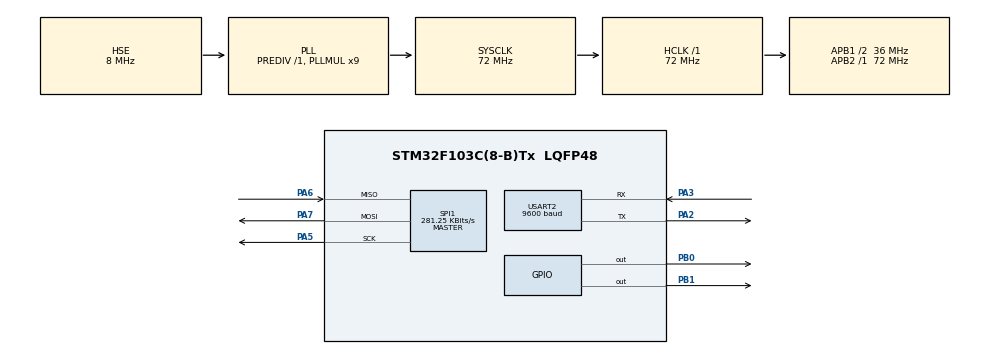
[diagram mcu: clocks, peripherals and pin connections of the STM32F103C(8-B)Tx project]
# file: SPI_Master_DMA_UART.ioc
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Dma.Request0=SPI1_RX
Dma.Request1=SPI1_TX
Dma.SPI1_RX.0.Direction=DMA_PERIPH_TO_MEMORY
Dma.SPI1_RX.0.Instance=DMA1_Channel2
Dma.SPI1_RX.0.MemDataAlignment=DMA_MDATAALIGN_BYTE
Dma.SPI1_RX.0.MemInc=DMA_MINC_ENABLE
Dma.SPI1_RX.0.Mode=DMA_NORMAL
Dma.SPI1_RX.0.PeriphDataAlignment=DMA_PDATAALIGN_BYTE
Dma.SPI1_RX.0.PeriphInc=DMA_PINC_DISABLE
Dma.SPI1_RX.0.Priority=DMA_PRIORITY_LOW
Dma.SPI1_TX.1.Direction=DMA_MEMORY_TO_PERIPH
Dma.SPI1_TX.1.Instance=DMA1_Channel3
Dma.SPI1_TX.1.MemDataAlignment=DMA_MDATAALIGN_BYTE
Dma.SPI1_TX.1.MemInc=DMA_MINC_ENABLE
Dma.SPI1_TX.1.Mode=DMA_NORMAL
Dma.SPI1_TX.1.PeriphDataAlignment=DMA_PDATAALIGN_BYTE
Dma.SPI1_TX.1.PeriphInc=DMA_PINC_DISABLE
Dma.SPI1_TX.1.Priority=DMA_PRIORITY_LOW
Mcu.Family=STM32F1
Mcu.Name=STM32F103C(8-B)Tx
Mcu.Package=LQFP48
NVIC.DMA1_Channel2_IRQn=true\:3\:0\:true\:false\:true\:false\:true
NVIC.DMA1_Channel3_IRQn=true\:2\:0\:true\:false\:true\:false\:true
NVIC.PriorityGroup=NVIC_PRIORITYGROUP_4
NVIC.SPI1_IRQn=true\:1\:0\:true\:false\:true\:true\:true
NVIC.USART2_IRQn=true\:0\:0\:false\:false\:true\:true\:true
PA13.Mode=Serial_Wire
PA13.Signal=SYS_JTMS-SWDIO
PA14.Mode=Serial_Wire
PA14.Signal=SYS_JTCK-SWCLK
PA2.Mode=Asynchronous
PA2.Signal=USART2_TX
PA3.Mode=Asynchronous
PA3.Signal=USART2_RX
PA5.Mode=Full_Duplex_Master
PA5.Signal=SPI1_SCK
PA6.Mode=Full_Duplex_Master
PA6.Signal=SPI1_MISO
PA7.Mode=Full_Duplex_Master
PA7.Signal=SPI1_MOSI
PB0.Signal=GPIO_Output
PB1.Signal=GPIO_Output
PD0-OSC_IN.Mode=HSE-External-Oscillator
PD0-OSC_IN.Signal=RCC_OSC_IN
PD1-OSC_OUT.Mode=HSE-External-Oscillator
PD1-OSC_OUT.Signal=RCC_OSC_OUT
ProjectManager.HeapSize=0x200
ProjectManager.StackSize=0x400
ProjectManager.TargetToolchain=STM32CubeIDE
RCC.AHBFreq_Value=72000000
RCC.APB1CLKDivider=RCC_HCLK_DIV2
RCC.APB1Freq_Value=36000000
RCC.APB1TimFreq_Value=72000000
RCC.APB2Freq_Value=72000000
RCC.APB2TimFreq_Value=72000000
RCC.HCLKFreq_Value=72000000
RCC.PLLMUL=RCC_PLL_MUL9
RCC.PLLSourceVirtual=RCC_PLLSOURCE_HSE
RCC.SYSCLKFreq_VALUE=72000000
RCC.SYSCLKSource=RCC_SYSCLKSOURCE_PLLCLK
RCC.USBFreq_Value=72000000
SPI1.BaudRatePrescaler=SPI_BAUDRATEPRESCALER_256
SPI1.CLKPolarity=SPI_POLARITY_HIGH
SPI1.CalculateBaudRate=281.25 KBits/s
SPI1.Direction=SPI_DIRECTION_2LINES
SPI1.Mode=SPI_MODE_MASTER
SPI1.VirtualType=VM_MASTER
USART2.BaudRate=9600
USART2.VirtualMode=VM_ASYNC
board=custom

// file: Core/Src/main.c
/* USER CODE BEGIN Header */
/**
  ******************************************************************************
  * @file           : main.c
  * @brief          : Main program body
  ******************************************************************************
  * @attention
  *
  * <h2><center>&copy; Copyright (c) 2021 STMicroelectronics.
  * All rights reserved.</center></h2>
  *
  * This software component is licensed by ST under BSD 3-Clause license,
  * the "License"; You may not use this file except in compliance with the
  * License. You may obtain a copy of the License at:
  *                        opensource.org/licenses/BSD-3-Clause
  *
  ******************************************************************************
  */
/* USER CODE END Header */
#include "main.h"

/* USER CODE BEGIN Includes */
#include "string.h"

/* USER CODE END Includes */

SPI_HandleTypeDef hspi1;
DMA_HandleTypeDef hdma_spi1_rx;
DMA_HandleTypeDef hdma_spi1_tx;

UART_HandleTypeDef huart2;

/* USER CODE BEGIN PV */
static char* Uartmsg="Uart_Established";
uint8_t spi_TX[]="SPI_Master_to_Slave\r\n\t";
uint8_t spi_RX[25]={0};

/* USER CODE END PV */

void SystemClock_Config(void);
static void MX_GPIO_Init(void);
static void MX_DMA_Init(void);
static void MX_SPI1_Init(void);
static void MX_USART2_UART_Init(void);

int main(void)
{

  /* MCU Configuration--------------------------------------------------------*/

  /* Reset of all peripherals, Initializes the Flash interface and the Systick. */
  HAL_Init();

  /* Configure the system clock */
  SystemClock_Config();

  /* Initialize all configured peripherals */
  MX_GPIO_Init();
  MX_DMA_Init();
  MX_SPI1_Init();
  MX_USART2_UART_Init();
  /* USER CODE BEGIN 2 */
  __HAL_SPI_ENABLE(&hspi1);
  __HAL_UART_ENABLE(&huart2);

  /* USER CODE END 2 */

	if (HAL_UART_Transmit(&huart2, (uint8_t*) Uartmsg, strlen(Uartmsg), 100)!= HAL_OK) {
		Error_Handler();
	}

	while(HAL_SPI_GetState(&hspi1)!=HAL_SPI_STATE_READY);
	if (HAL_SPI_TransmitReceive_DMA(&hspi1, spi_TX, spi_RX, 25)!= HAL_OK) {
			Error_Handler();

	}

  /* Infinite loop */
  while (1)
  {

  }
}

void SystemClock_Config(void)
{
  RCC_OscInitTypeDef RCC_OscInitStruct = {0};
  RCC_ClkInitTypeDef RCC_ClkInitStruct = {0};

  /** Initializes the RCC Oscillators according to the specified parameters
  * in the RCC_OscInitTypeDef structure.
  */
  RCC_OscInitStruct.OscillatorType = RCC_OSCILLATORTYPE_HSE;
  RCC_OscInitStruct.HSEState = RCC_HSE_ON;
  RCC_OscInitStruct.HSEPredivValue = RCC_HSE_PREDIV_DIV1;
  RCC_OscInitStruct.HSIState = RCC_HSI_ON;
  RCC_OscInitStruct.PLL.PLLState = RCC_PLL_ON;
  RCC_OscInitStruct.PLL.PLLSource = RCC_PLLSOURCE_HSE;
  RCC_OscInitStruct.PLL.PLLMUL = RCC_PLL_MUL9;
  if (HAL_RCC_OscConfig(&RCC_OscInitStruct) != HAL_OK)
  {
    Error_Handler();
  }
  /** Initializes the CPU, AHB and APB buses clocks
  */
  RCC_ClkInitStruct.ClockType = RCC_CLOCKTYPE_HCLK|RCC_CLOCKTYPE_SYSCLK
                              |RCC_CLOCKTYPE_PCLK1|RCC_CLOCKTYPE_PCLK2;
  RCC_ClkInitStruct.SYSCLKSource = RCC_SYSCLKSOURCE_PLLCLK;
  RCC_ClkInitStruct.AHBCLKDivider = RCC_SYSCLK_DIV1;
  RCC_ClkInitStruct.APB1CLKDivider = RCC_HCLK_DIV2;
  RCC_ClkInitStruct.APB2CLKDivider = RCC_HCLK_DIV1;

  if (HAL_RCC_ClockConfig(&RCC_ClkInitStruct, FLASH_LATENCY_2) != HAL_OK)
  {
    Error_Handler();
  }
}

static void MX_SPI1_Init(void)
{

  /* SPI1 parameter configuration*/
  hspi1.Instance = SPI1;
  hspi1.Init.Mode = SPI_MODE_MASTER;
  hspi1.Init.Direction = SPI_DIRECTION_2LINES;
  hspi1.Init.DataSize = SPI_DATASIZE_8BIT;
  hspi1.Init.CLKPolarity = SPI_POLARITY_HIGH;
  hspi1.Init.CLKPhase = SPI_PHASE_1EDGE;
  hspi1.Init.NSS = SPI_NSS_SOFT;
  hspi1.Init.BaudRatePrescaler = SPI_BAUDRATEPRESCALER_256;
  hspi1.Init.FirstBit = SPI_FIRSTBIT_MSB;
  hspi1.Init.TIMode = SPI_TIMODE_DISABLE;
  hspi1.Init.CRCCalculation = SPI_CRCCALCULATION_DISABLE;
  hspi1.Init.CRCPolynomial = 10;
  if (HAL_SPI_Init(&hspi1) != HAL_OK)
  {
    Error_Handler();
  }

}

static void MX_USART2_UART_Init(void)
{

  huart2.Instance = USART2;
  huart2.Init.BaudRate = 9600;
  huart2.Init.WordLength = UART_WORDLENGTH_8B;
  huart2.Init.StopBits = UART_STOPBITS_1;
  huart2.Init.Parity = UART_PARITY_NONE;
  huart2.Init.Mode = UART_MODE_TX_RX;
  huart2.Init.HwFlowCtl = UART_HWCONTROL_NONE;
  huart2.Init.OverSampling = UART_OVERSAMPLING_16;
  if (HAL_UART_Init(&huart2) != HAL_OK)
  {
    Error_Handler();
  }

}

static void MX_DMA_Init(void)
{

  /* DMA controller clock enable */
  __HAL_RCC_DMA1_CLK_ENABLE();

  /* DMA interrupt init */
  /* DMA1_Channel2_IRQn interrupt configuration */
  HAL_NVIC_SetPriority(DMA1_Channel2_IRQn, 3, 0);
  HAL_NVIC_EnableIRQ(DMA1_Channel2_IRQn);
  /* DMA1_Channel3_IRQn interrupt configuration */
  HAL_NVIC_SetPriority(DMA1_Channel3_IRQn, 2, 0);
  HAL_NVIC_EnableIRQ(DMA1_Channel3_IRQn);

}

static void MX_GPIO_Init(void)
{
  GPIO_InitTypeDef GPIO_InitStruct = {0};

  /* GPIO Ports Clock Enable */
  __HAL_RCC_GPIOD_CLK_ENABLE();
  __HAL_RCC_GPIOA_CLK_ENABLE();
  __HAL_RCC_GPIOB_CLK_ENABLE();

  /*Configure GPIO pin Output Level */
  HAL_GPIO_WritePin(GPIOB, GPIO_PIN_0|GPIO_PIN_1, GPIO_PIN_RESET);

  /*Configure GPIO pins : PB0 PB1 */
  GPIO_InitStruct.Pin = GPIO_PIN_0|GPIO_PIN_1;
  GPIO_InitStruct.Mode = GPIO_MODE_OUTPUT_PP;
  GPIO_InitStruct.Pull = GPIO_NOPULL;
  GPIO_InitStruct.Speed = GPIO_SPEED_FREQ_LOW;
  HAL_GPIO_Init(GPIOB, &GPIO_InitStruct);

}

/* USER CODE BEGIN 4 */
void HAL_SPI_TxRxCpltCallback(SPI_HandleTypeDef *hspi)
{
	if (HAL_SPI_TransmitReceive_DMA(&hspi1,(uint8_t*)spi_TX,(uint8_t*)spi_RX, 25)!= HAL_OK) {
	Error_Handler();
	}

	HAL_GPIO_WritePin(GPIOB, GPIO_PIN_0, GPIO_PIN_SET);
	HAL_GPIO_WritePin(GPIOB, GPIO_PIN_1, GPIO_PIN_RESET);

	while(HAL_UART_GetState(&huart2)!=HAL_UART_STATE_READY);
	if (HAL_UART_Transmit(&huart2, (uint8_t*)spi_RX, 25, 100)!= HAL_OK) {
			Error_Handler();
	}

}
void HAL_SPI_ErrorCallback(SPI_HandleTypeDef *hspi)
{

	HAL_GPIO_WritePin(GPIOB, GPIO_PIN_0, GPIO_PIN_SET);
	HAL_GPIO_WritePin(GPIOB, GPIO_PIN_1, GPIO_PIN_SET);

}

/* USER CODE END 4 */

void Error_Handler(void)
{
	HAL_GPIO_WritePin(GPIOB, GPIO_PIN_0, GPIO_PIN_RESET);
	HAL_GPIO_WritePin(GPIOB, GPIO_PIN_1, GPIO_PIN_SET);
  __disable_irq();
  while (1)
  {
  }
}

/************************ (C) COPYRIGHT STMicroelectronics *****END OF FILE****/
